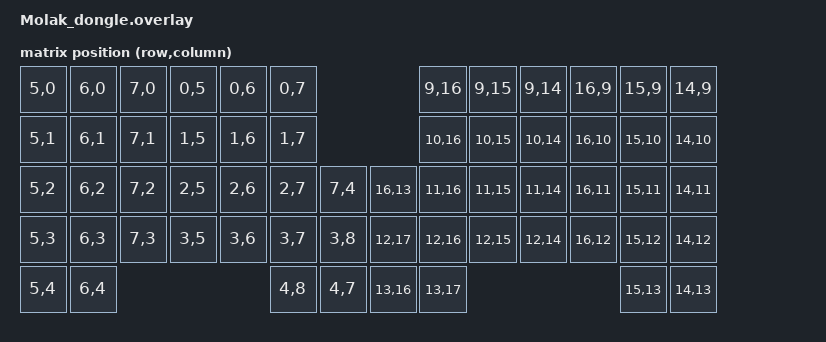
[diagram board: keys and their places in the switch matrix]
#include "Molak.dtsi"
#include <dt-bindings/zmk/matrix_transform.h>

/ {
    chosen {
        zmk,kscan = &mock_kscan;
        zmk,physical-layout = &Molak_physical_layout;  // New item added
    };

    default_transform: keymap_transform_0 {
        compatible = "zmk,matrix-transform";
        columns = <14>;
        rows = <5>;
        map = <
            RC(5,0) RC(6,0) RC(7,0) RC(0,5) RC(0,6) RC(0,7)                       RC(9,16)  RC(9,15)  RC(9,14)  RC(16,9)  RC(15,9)  RC(14,9)
            RC(5,1) RC(6,1) RC(7,1) RC(1,5) RC(1,6) RC(1,7)                       RC(10,16) RC(10,15) RC(10,14) RC(16,10) RC(15,10) RC(14,10)
            RC(5,2) RC(6,2) RC(7,2) RC(2,5) RC(2,6) RC(2,7) RC(7,4)     RC(16,13) RC(11,16) RC(11,15) RC(11,14) RC(16,11) RC(15,11) RC(14,11)
            RC(5,3) RC(6,3) RC(7,3) RC(3,5) RC(3,6) RC(3,7) RC(3,8)     RC(12,17) RC(12,16) RC(12,15) RC(12,14) RC(16,12) RC(15,12) RC(14,12)
            RC(5,4) RC(6,4)                         RC(4,8) RC(4,7)     RC(13,16) RC(13,17)                               RC(15,13) RC(14,13)
        >;
    };
};

/ {
    Molak_physical_layout: Molak_physical_layout {
        compatible = "zmk,physical-layout";
        display-name = "Default Layout";
        transform = <&default_transform>;
    };
};
